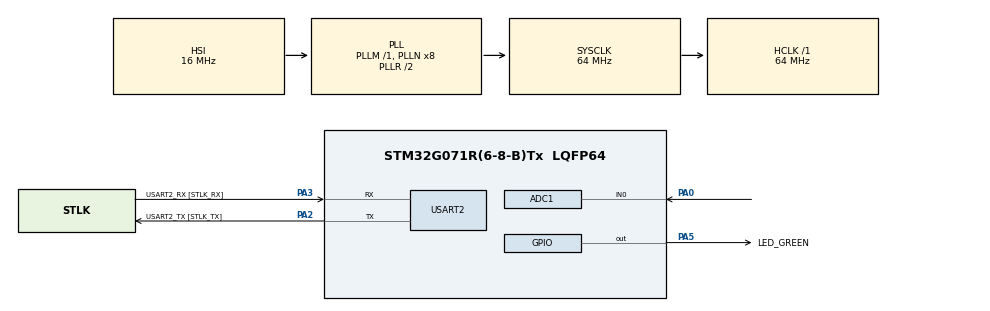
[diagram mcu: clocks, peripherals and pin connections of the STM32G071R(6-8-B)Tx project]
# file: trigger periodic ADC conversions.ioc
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ADC1.Channel-2\#ChannelRegularConversion=ADC_CHANNEL_0
ADC1.ExternalTrigConv=ADC_EXTERNALTRIG_T2_TRGO
ADC1.ExternalTrigConvEdge=ADC_EXTERNALTRIGCONVEDGE_RISINGFALLING
ADC1.NbrOfConversionFlag=1
ADC1.Rank-2\#ChannelRegularConversion=1
ADC1.SamplingTime-2\#ChannelRegularConversion=ADC_SAMPLINGTIME_COMMON_1
ADC1.SelectedChannel=ADC_CHANNEL_0
ADC1.master=1
Mcu.Family=STM32G0
Mcu.Name=STM32G071R(6-8-B)Tx
Mcu.Package=LQFP64
NVIC.ADC1_COMP_IRQn=true\:0\:0\:false\:false\:true\:true\:true\:true
NVIC.TIM2_IRQn=true\:0\:0\:false\:false\:true\:true\:true\:true
PA0.Mode=IN0
PA0.Signal=ADC1_IN0
PA13.GPIO_Label=TMS
PA13.Mode=Serial_Wire
PA13.Signal=SYS_SWDIO
PA14-BOOT0.GPIO_Label=TCK
PA14-BOOT0.Mode=Serial_Wire
PA14-BOOT0.Signal=SYS_SWCLK
PA2.GPIO_Label=USART2_TX [STLK_TX]
PA2.GPIO_PuPd=GPIO_PULLUP
PA2.Mode=Asynchronous
PA2.Signal=USART2_TX
PA3.GPIO_Label=USART2_RX [STLK_RX]
PA3.GPIO_PuPd=GPIO_PULLUP
PA3.Mode=Asynchronous
PA3.Signal=USART2_RX
PA5.GPIO_Label=LED_GREEN
PA5.GPIO_Speed=GPIO_SPEED_FREQ_HIGH
PA5.Signal=GPIO_Output
ProjectManager.HeapSize=0x200
ProjectManager.StackSize=0x400
ProjectManager.TargetToolchain=STM32CubeIDE
RCC.ADCFreq_Value=64000000
RCC.AHBFreq_Value=64000000
RCC.CortexFreq_Value=64000000
RCC.EXTERNAL_CLOCK_VALUE=12288000
RCC.HCLKFreq_Value=64000000
RCC.HSE_VALUE=8000000
RCC.HSI_VALUE=16000000
RCC.LSE_VALUE=32768
RCC.SYSCLKFreq_VALUE=64000000
RCC.SYSCLKSource=RCC_SYSCLKSOURCE_PLLCLK
RCC.VCOOutputFreq_Value=128000000
TIM2.Channel-PWM\ Generation1\ No\ Output=TIM_CHANNEL_1
TIM2.Period=3124
TIM2.Prescaler=64-1
TIM2.TIM_MasterOutputTrigger=TIM_TRGO_UPDATE
USART2.VirtualMode-Asynchronous=VM_ASYNC
VP_TIM2_VS_no_output1.Mode=PWM Generation1 No Output
board=NUCLEO-G071RB

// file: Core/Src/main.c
/* USER CODE BEGIN Header */
/**
  ******************************************************************************
  * @file           : main.c
  * @brief          : Main program body
  ******************************************************************************
  * @attention
  *
  * Copyright (c) 2026 STMicroelectronics.
  * All rights reserved.
  *
  * This software is licensed under terms that can be found in the LICENSE file
  * in the root directory of this software component.
  * If no LICENSE file comes with this software, it is provided AS-IS.
  *
  ******************************************************************************
  */
/* USER CODE END Header */
#include "main.h"

/* USER CODE BEGIN Includes */
#include <stdio.h>
/* USER CODE END Includes */

ADC_HandleTypeDef hadc1;

TIM_HandleTypeDef htim2;

UART_HandleTypeDef huart2;

/* USER CODE BEGIN PV */
uint32_t adc_val;
/* USER CODE END PV */

void SystemClock_Config(void);
static void MX_GPIO_Init(void);
static void MX_ADC1_Init(void);
static void MX_TIM2_Init(void);
static void MX_USART2_UART_Init(void);

/* USER CODE BEGIN 0 */
int _write(int file, char *ptr, int len)
{
	HAL_UART_Transmit(&huart2,(uint8_t*)ptr,len,HAL_MAX_DELAY);  //If you need to use "printf" for displaying output
	return len;													   //If you need to use 'Transmit', you don't need to have..
}

/* USER CODE END 0 */

int main(void)
{

  /* MCU Configuration--------------------------------------------------------*/

  /* Reset of all peripherals, Initializes the Flash interface and the Systick. */
  HAL_Init();

  /* Configure the system clock */
  SystemClock_Config();

  /* Initialize all configured peripherals */
  MX_GPIO_Init();
  MX_ADC1_Init();
  MX_TIM2_Init();
  MX_USART2_UART_Init();
  /* USER CODE BEGIN 2 */
//  HAL_ADC_Start_IT(&hadc1);
//  HAL_TIM_Base_Start_IT(&htim2);

  // Calibrate ADC
  if (HAL_ADCEx_Calibration_Start(&hadc1) != HAL_OK)
      Error_Handler();

  // Start ADC interrupt
  if (HAL_ADC_Start_IT(&hadc1) != HAL_OK)
      Error_Handler();

  // Start Timer base
  if (HAL_TIM_Base_Start(&htim2) != HAL_OK)
      Error_Handler();

  // Start PWM on the same channel that was configured.
  if (HAL_TIM_PWM_Start(&htim2, TIM_CHANNEL_1) != HAL_OK)
      Error_Handler();

  /* USER CODE END 2 */

  /* Infinite loop */
  while (1)
  {

  }
}

void SystemClock_Config(void)
{
  RCC_OscInitTypeDef RCC_OscInitStruct = {0};
  RCC_ClkInitTypeDef RCC_ClkInitStruct = {0};

  /** Configure the main internal regulator output voltage
  */
  HAL_PWREx_ControlVoltageScaling(PWR_REGULATOR_VOLTAGE_SCALE1);

  /** Initializes the RCC Oscillators according to the specified parameters
  * in the RCC_OscInitTypeDef structure.
  */
  RCC_OscInitStruct.OscillatorType = RCC_OSCILLATORTYPE_HSI;
  RCC_OscInitStruct.HSIState = RCC_HSI_ON;
  RCC_OscInitStruct.HSIDiv = RCC_HSI_DIV1;
  RCC_OscInitStruct.HSICalibrationValue = RCC_HSICALIBRATION_DEFAULT;
  RCC_OscInitStruct.PLL.PLLState = RCC_PLL_ON;
  RCC_OscInitStruct.PLL.PLLSource = RCC_PLLSOURCE_HSI;
  RCC_OscInitStruct.PLL.PLLM = RCC_PLLM_DIV1;
  RCC_OscInitStruct.PLL.PLLN = 8;
  RCC_OscInitStruct.PLL.PLLP = RCC_PLLP_DIV2;
  RCC_OscInitStruct.PLL.PLLQ = RCC_PLLQ_DIV2;
  RCC_OscInitStruct.PLL.PLLR = RCC_PLLR_DIV2;
  if (HAL_RCC_OscConfig(&RCC_OscInitStruct) != HAL_OK)
  {
    Error_Handler();
  }

  /** Initializes the CPU, AHB and APB buses clocks
  */
  RCC_ClkInitStruct.ClockType = RCC_CLOCKTYPE_HCLK|RCC_CLOCKTYPE_SYSCLK
                              |RCC_CLOCKTYPE_PCLK1;
  RCC_ClkInitStruct.SYSCLKSource = RCC_SYSCLKSOURCE_PLLCLK;
  RCC_ClkInitStruct.AHBCLKDivider = RCC_SYSCLK_DIV1;
  RCC_ClkInitStruct.APB1CLKDivider = RCC_HCLK_DIV1;

  if (HAL_RCC_ClockConfig(&RCC_ClkInitStruct, FLASH_LATENCY_2) != HAL_OK)
  {
    Error_Handler();
  }
}

static void MX_ADC1_Init(void)
{

  ADC_ChannelConfTypeDef sConfig = {0};

  /** Configure the global features of the ADC (Clock, Resolution, Data Alignment and number of conversion)
  */
  hadc1.Instance = ADC1;
  hadc1.Init.ClockPrescaler = ADC_CLOCK_SYNC_PCLK_DIV2;
  hadc1.Init.Resolution = ADC_RESOLUTION_12B;
  hadc1.Init.DataAlign = ADC_DATAALIGN_RIGHT;
  hadc1.Init.ScanConvMode = ADC_SCAN_DISABLE;
  hadc1.Init.EOCSelection = ADC_EOC_SINGLE_CONV;
  hadc1.Init.LowPowerAutoWait = DISABLE;
  hadc1.Init.LowPowerAutoPowerOff = DISABLE;
  hadc1.Init.ContinuousConvMode = DISABLE;
  hadc1.Init.NbrOfConversion = 1;
  hadc1.Init.DiscontinuousConvMode = DISABLE;
  // TODO Don’t start the conversion automatically. Wait for the trigger from Timer 2 (TRGO).
  hadc1.Init.ExternalTrigConv = ADC_EXTERNALTRIG_T2_TRGO;
  hadc1.Init.ExternalTrigConvEdge = ADC_EXTERNALTRIGCONVEDGE_RISINGFALLING;

  hadc1.Init.DMAContinuousRequests = DISABLE;
  hadc1.Init.Overrun = ADC_OVR_DATA_PRESERVED;
  hadc1.Init.SamplingTimeCommon1 = ADC_SAMPLETIME_1CYCLE_5;
  hadc1.Init.SamplingTimeCommon2 = ADC_SAMPLETIME_1CYCLE_5;
  hadc1.Init.OversamplingMode = DISABLE;
  hadc1.Init.TriggerFrequencyMode = ADC_TRIGGER_FREQ_HIGH;
  if (HAL_ADC_Init(&hadc1) != HAL_OK)
  {
    Error_Handler();
  }

  /** Configure Regular Channel
  */
  sConfig.Channel = ADC_CHANNEL_0;
  sConfig.Rank = ADC_REGULAR_RANK_1;
  sConfig.SamplingTime = ADC_SAMPLINGTIME_COMMON_1;
  if (HAL_ADC_ConfigChannel(&hadc1, &sConfig) != HAL_OK)
  {
    Error_Handler();
  }

}

static void MX_TIM2_Init(void)
{

  TIM_MasterConfigTypeDef sMasterConfig = {0};
  TIM_OC_InitTypeDef sConfigOC = {0};

  htim2.Instance = TIM2;
  htim2.Init.Prescaler = 64-1;
  htim2.Init.CounterMode = TIM_COUNTERMODE_UP;
  htim2.Init.Period = 3124-1; //TODO 320 data /sec
  htim2.Init.ClockDivision = TIM_CLOCKDIVISION_DIV1;
  htim2.Init.AutoReloadPreload = TIM_AUTORELOAD_PRELOAD_DISABLE;
  if (HAL_TIM_PWM_Init(&htim2) != HAL_OK)
  {
    Error_Handler();
  }
  sMasterConfig.MasterOutputTrigger = TIM_TRGO_UPDATE;
  sMasterConfig.MasterSlaveMode = TIM_MASTERSLAVEMODE_DISABLE;
  if (HAL_TIMEx_MasterConfigSynchronization(&htim2, &sMasterConfig) != HAL_OK)
  {
    Error_Handler();
  }
  sConfigOC.OCMode = TIM_OCMODE_PWM1;
  sConfigOC.Pulse = 0;
  sConfigOC.OCPolarity = TIM_OCPOLARITY_HIGH;
  sConfigOC.OCFastMode = TIM_OCFAST_DISABLE;
  if (HAL_TIM_PWM_ConfigChannel(&htim2, &sConfigOC, TIM_CHANNEL_1) != HAL_OK)
  {
    Error_Handler();
  }

}

static void MX_USART2_UART_Init(void)
{

  huart2.Instance = USART2;
  huart2.Init.BaudRate = 115200;
  huart2.Init.WordLength = UART_WORDLENGTH_8B;
  huart2.Init.StopBits = UART_STOPBITS_1;
  huart2.Init.Parity = UART_PARITY_NONE;
  huart2.Init.Mode = UART_MODE_TX_RX;
  huart2.Init.HwFlowCtl = UART_HWCONTROL_NONE;
  huart2.Init.OverSampling = UART_OVERSAMPLING_16;
  huart2.Init.OneBitSampling = UART_ONE_BIT_SAMPLE_DISABLE;
  huart2.Init.ClockPrescaler = UART_PRESCALER_DIV1;
  huart2.AdvancedInit.AdvFeatureInit = UART_ADVFEATURE_NO_INIT;
  if (HAL_UART_Init(&huart2) != HAL_OK)
  {
    Error_Handler();
  }
  if (HAL_UARTEx_SetTxFifoThreshold(&huart2, UART_TXFIFO_THRESHOLD_1_8) != HAL_OK)
  {
    Error_Handler();
  }
  if (HAL_UARTEx_SetRxFifoThreshold(&huart2, UART_RXFIFO_THRESHOLD_1_8) != HAL_OK)
  {
    Error_Handler();
  }
  if (HAL_UARTEx_DisableFifoMode(&huart2) != HAL_OK)
  {
    Error_Handler();
  }

}

static void MX_GPIO_Init(void)
{
  GPIO_InitTypeDef GPIO_InitStruct = {0};

  /* GPIO Ports Clock Enable */
  __HAL_RCC_GPIOA_CLK_ENABLE();

  /*Configure GPIO pin Output Level */
  HAL_GPIO_WritePin(LED_GREEN_GPIO_Port, LED_GREEN_Pin, GPIO_PIN_RESET);

  /*Configure GPIO pin : LED_GREEN_Pin */
  GPIO_InitStruct.Pin = LED_GREEN_Pin;
  GPIO_InitStruct.Mode = GPIO_MODE_OUTPUT_PP;
  GPIO_InitStruct.Pull = GPIO_NOPULL;
  GPIO_InitStruct.Speed = GPIO_SPEED_FREQ_HIGH;
  HAL_GPIO_Init(LED_GREEN_GPIO_Port, &GPIO_InitStruct);

}

/* USER CODE BEGIN 4 */
void HAL_ADC_ConvCpltCallback(ADC_HandleTypeDef *hadc)
{
  adc_val = HAL_ADC_GetValue(&hadc1);
	// Toggle the Green LED
  HAL_GPIO_TogglePin(LED_GREEN_GPIO_Port, LED_GREEN_Pin);

  printf("interrupt ADC : %lu \r\n" , adc_val);
}

/* USER CODE END 4 */

void Error_Handler(void)
{
  __disable_irq();
  while (1)
  {
  }
}
